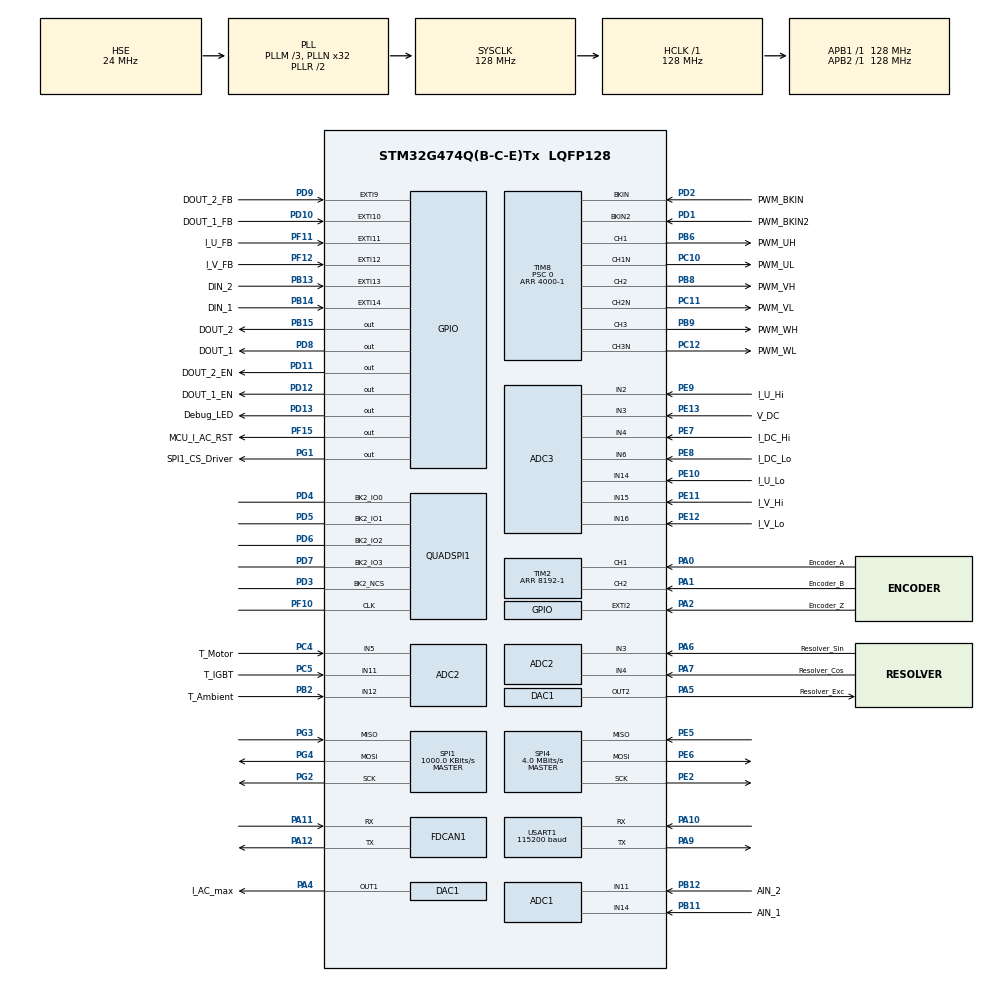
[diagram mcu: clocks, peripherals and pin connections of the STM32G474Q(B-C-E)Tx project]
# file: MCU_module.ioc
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ADC1.Channel-1\#ChannelRegularConversion=ADC_CHANNEL_14
ADC1.Channel-2\#ChannelRegularConversion=ADC_CHANNEL_11
ADC1.ContinuousConvMode=DISABLE
ADC1.DMAContinuousRequests=ENABLE
ADC1.EOCSelection=ADC_EOC_SEQ_CONV
ADC1.NbrOfConversion=2
ADC1.NbrOfConversionFlag=1
ADC1.OffsetNumber-1\#ChannelRegularConversion=ADC_OFFSET_NONE
ADC1.OffsetNumber-2\#ChannelRegularConversion=ADC_OFFSET_NONE
ADC1.Rank-1\#ChannelRegularConversion=1
ADC1.Rank-2\#ChannelRegularConversion=2
ADC1.SamplingTime-1\#ChannelRegularConversion=ADC_SAMPLETIME_47CYCLES_5
ADC1.SamplingTime-2\#ChannelRegularConversion=ADC_SAMPLETIME_47CYCLES_5
ADC1.master=1
ADC2.Channel-1\#ChannelRegularConversion=ADC_CHANNEL_3
ADC2.Channel-2\#ChannelRegularConversion=ADC_CHANNEL_4
ADC2.Channel-3\#ChannelRegularConversion=ADC_CHANNEL_5
ADC2.Channel-4\#ChannelRegularConversion=ADC_CHANNEL_11
ADC2.Channel-5\#ChannelRegularConversion=ADC_CHANNEL_12
ADC2.DMAContinuousRequests=ENABLE
ADC2.EOCSelection=ADC_EOC_SEQ_CONV
ADC2.ExternalTrigConv=ADC_EXTERNALTRIG_T8_TRGO
ADC2.NbrOfConversion=5
ADC2.NbrOfConversionFlag=1
ADC2.OffsetNumber-1\#ChannelRegularConversion=ADC_OFFSET_NONE
ADC2.OffsetNumber-2\#ChannelRegularConversion=ADC_OFFSET_NONE
ADC2.OffsetNumber-3\#ChannelRegularConversion=ADC_OFFSET_NONE
ADC2.OffsetNumber-4\#ChannelRegularConversion=ADC_OFFSET_NONE
ADC2.OffsetNumber-5\#ChannelRegularConversion=ADC_OFFSET_NONE
ADC2.Rank-1\#ChannelRegularConversion=1
ADC2.Rank-2\#ChannelRegularConversion=2
ADC2.Rank-3\#ChannelRegularConversion=3
ADC2.Rank-4\#ChannelRegularConversion=4
ADC2.Rank-5\#ChannelRegularConversion=5
ADC2.SamplingTime-1\#ChannelRegularConversion=ADC_SAMPLETIME_47CYCLES_5
ADC2.SamplingTime-2\#ChannelRegularConversion=ADC_SAMPLETIME_47CYCLES_5
ADC2.SamplingTime-3\#ChannelRegularConversion=ADC_SAMPLETIME_47CYCLES_5
ADC2.SamplingTime-4\#ChannelRegularConversion=ADC_SAMPLETIME_47CYCLES_5
ADC2.SamplingTime-5\#ChannelRegularConversion=ADC_SAMPLETIME_47CYCLES_5
ADC3.Channel-0\#ChannelRegularConversion=ADC_CHANNEL_2
ADC3.Channel-1\#ChannelRegularConversion=ADC_CHANNEL_15
ADC3.Channel-2\#ChannelRegularConversion=ADC_CHANNEL_14
ADC3.Channel-3\#ChannelRegularConversion=ADC_CHANNEL_16
ADC3.Channel-4\#ChannelRegularConversion=ADC_CHANNEL_4
ADC3.Channel-5\#ChannelRegularConversion=ADC_CHANNEL_6
ADC3.Channel-6\#ChannelRegularConversion=ADC_CHANNEL_3
ADC3.DMAContinuousRequests=ENABLE
ADC3.EOCSelection=ADC_EOC_SEQ_CONV
ADC3.ExternalTrigConv=ADC_EXTERNALTRIG_T8_TRGO
ADC3.NbrOfConversion=7
ADC3.NbrOfConversionFlag=1
ADC3.OffsetNumber-0\#ChannelRegularConversion=ADC_OFFSET_NONE
ADC3.OffsetNumber-1\#ChannelRegularConversion=ADC_OFFSET_NONE
ADC3.OffsetNumber-2\#ChannelRegularConversion=ADC_OFFSET_NONE
ADC3.OffsetNumber-3\#ChannelRegularConversion=ADC_OFFSET_NONE
ADC3.OffsetNumber-4\#ChannelRegularConversion=ADC_OFFSET_NONE
ADC3.OffsetNumber-5\#ChannelRegularConversion=ADC_OFFSET_NONE
ADC3.OffsetNumber-6\#ChannelRegularConversion=ADC_OFFSET_NONE
ADC3.Rank-0\#ChannelRegularConversion=1
ADC3.Rank-1\#ChannelRegularConversion=2
ADC3.Rank-2\#ChannelRegularConversion=3
ADC3.Rank-3\#ChannelRegularConversion=4
ADC3.Rank-4\#ChannelRegularConversion=5
ADC3.Rank-5\#ChannelRegularConversion=6
ADC3.Rank-6\#ChannelRegularConversion=7
ADC3.SamplingTime-0\#ChannelRegularConversion=ADC_SAMPLETIME_47CYCLES_5
ADC3.SamplingTime-1\#ChannelRegularConversion=ADC_SAMPLETIME_47CYCLES_5
ADC3.SamplingTime-2\#ChannelRegularConversion=ADC_SAMPLETIME_47CYCLES_5
ADC3.SamplingTime-3\#ChannelRegularConversion=ADC_SAMPLETIME_47CYCLES_5
ADC3.SamplingTime-4\#ChannelRegularConversion=ADC_SAMPLETIME_47CYCLES_5
ADC3.SamplingTime-5\#ChannelRegularConversion=ADC_SAMPLETIME_47CYCLES_5
ADC3.SamplingTime-6\#ChannelRegularConversion=ADC_SAMPLETIME_47CYCLES_5
ADC3.master=1
DAC1.DAC_Channel-DAC_OUT2=DAC_CHANNEL_2
Dma.ADC1.2.Direction=DMA_PERIPH_TO_MEMORY
Dma.ADC1.2.EventEnable=DISABLE
Dma.ADC1.2.Instance=DMA1_Channel1
Dma.ADC1.2.MemDataAlignment=DMA_MDATAALIGN_WORD
Dma.ADC1.2.MemInc=DMA_MINC_ENABLE
Dma.ADC1.2.Mode=DMA_NORMAL
Dma.ADC1.2.PeriphDataAlignment=DMA_PDATAALIGN_WORD
Dma.ADC1.2.PeriphInc=DMA_PINC_DISABLE
Dma.ADC1.2.Polarity=HAL_DMAMUX_REQ_GEN_RISING
Dma.ADC1.2.Priority=DMA_PRIORITY_LOW
Dma.ADC1.2.RequestNumber=1
Dma.ADC1.2.SignalID=NONE
Dma.ADC1.2.SyncEnable=DISABLE
Dma.ADC1.2.SyncPolarity=HAL_DMAMUX_SYNC_NO_EVENT
Dma.ADC1.2.SyncRequestNumber=1
Dma.ADC1.2.SyncSignalID=NONE
Dma.ADC2.3.Direction=DMA_PERIPH_TO_MEMORY
Dma.ADC2.3.EventEnable=DISABLE
Dma.ADC2.3.Instance=DMA1_Channel3
Dma.ADC2.3.MemDataAlignment=DMA_MDATAALIGN_HALFWORD
Dma.ADC2.3.MemInc=DMA_MINC_ENABLE
Dma.ADC2.3.Mode=DMA_CIRCULAR
Dma.ADC2.3.PeriphDataAlignment=DMA_PDATAALIGN_HALFWORD
Dma.ADC2.3.PeriphInc=DMA_PINC_DISABLE
Dma.ADC2.3.Polarity=HAL_DMAMUX_REQ_GEN_RISING
Dma.ADC2.3.Priority=DMA_PRIORITY_VERY_HIGH
Dma.ADC2.3.RequestNumber=1
Dma.ADC2.3.SignalID=NONE
Dma.ADC2.3.SyncEnable=DISABLE
Dma.ADC2.3.SyncPolarity=HAL_DMAMUX_SYNC_NO_EVENT
Dma.ADC2.3.SyncRequestNumber=1
Dma.ADC2.3.SyncSignalID=NONE
Dma.ADC3.4.Direction=DMA_PERIPH_TO_MEMORY
Dma.ADC3.4.EventEnable=DISABLE
Dma.ADC3.4.Instance=DMA1_Channel5
Dma.ADC3.4.MemDataAlignment=DMA_MDATAALIGN_HALFWORD
Dma.ADC3.4.MemInc=DMA_MINC_ENABLE
Dma.ADC3.4.Mode=DMA_CIRCULAR
Dma.ADC3.4.PeriphDataAlignment=DMA_PDATAALIGN_HALFWORD
Dma.ADC3.4.PeriphInc=DMA_PINC_DISABLE
Dma.ADC3.4.Polarity=HAL_DMAMUX_REQ_GEN_RISING
Dma.ADC3.4.Priority=DMA_PRIORITY_VERY_HIGH
Dma.ADC3.4.RequestNumber=1
Dma.ADC3.4.SignalID=NONE
Dma.ADC3.4.SyncEnable=DISABLE
Dma.ADC3.4.SyncPolarity=HAL_DMAMUX_SYNC_NO_EVENT
Dma.ADC3.4.SyncRequestNumber=1
Dma.ADC3.4.SyncSignalID=NONE
Dma.Request0=TIM8_UP
Dma.Request1=USART1_TX
Dma.Request2=ADC1
Dma.Request3=ADC2
Dma.Request4=ADC3
Dma.Request5=SPI4_RX
Dma.Request6=SPI4_TX
Dma.SPI4_RX.5.Direction=DMA_PERIPH_TO_MEMORY
Dma.SPI4_RX.5.EventEnable=DISABLE
Dma.SPI4_RX.5.Instance=DMA1_Channel6
Dma.SPI4_RX.5.MemDataAlignment=DMA_MDATAALIGN_HALFWORD
Dma.SPI4_RX.5.MemInc=DMA_MINC_DISABLE
Dma.SPI4_RX.5.Mode=DMA_NORMAL
Dma.SPI4_RX.5.PeriphDataAlignment=DMA_PDATAALIGN_HALFWORD
Dma.SPI4_RX.5.PeriphInc=DMA_PINC_DISABLE
Dma.SPI4_RX.5.Polarity=HAL_DMAMUX_REQ_GEN_RISING
Dma.SPI4_RX.5.Priority=DMA_PRIORITY_VERY_HIGH
Dma.SPI4_RX.5.RequestNumber=1
Dma.SPI4_RX.5.SignalID=NONE
Dma.SPI4_RX.5.SyncEnable=DISABLE
Dma.SPI4_RX.5.SyncPolarity=HAL_DMAMUX_SYNC_NO_EVENT
Dma.SPI4_RX.5.SyncRequestNumber=1
Dma.SPI4_RX.5.SyncSignalID=NONE
Dma.SPI4_TX.6.Direction=DMA_MEMORY_TO_PERIPH
Dma.SPI4_TX.6.EventEnable=DISABLE
Dma.SPI4_TX.6.Instance=DMA1_Channel7
Dma.SPI4_TX.6.MemDataAlignment=DMA_MDATAALIGN_HALFWORD
Dma.SPI4_TX.6.MemInc=DMA_MINC_DISABLE
Dma.SPI4_TX.6.Mode=DMA_NORMAL
Dma.SPI4_TX.6.PeriphDataAlignment=DMA_PDATAALIGN_HALFWORD
Dma.SPI4_TX.6.PeriphInc=DMA_PINC_DISABLE
Dma.SPI4_TX.6.Polarity=HAL_DMAMUX_REQ_GEN_RISING
Dma.SPI4_TX.6.Priority=DMA_PRIORITY_VERY_HIGH
Dma.SPI4_TX.6.RequestNumber=1
Dma.SPI4_TX.6.SignalID=NONE
Dma.SPI4_TX.6.SyncEnable=DISABLE
Dma.SPI4_TX.6.SyncPolarity=HAL_DMAMUX_SYNC_NO_EVENT
Dma.SPI4_TX.6.SyncRequestNumber=1
Dma.SPI4_TX.6.SyncSignalID=NONE
Dma.TIM8_UP.0.Direction=DMA_MEMORY_TO_PERIPH
Dma.TIM8_UP.0.EventEnable=DISABLE
Dma.TIM8_UP.0.Instance=DMA1_Channel2
Dma.TIM8_UP.0.MemDataAlignment=DMA_MDATAALIGN_HALFWORD
Dma.TIM8_UP.0.MemInc=DMA_MINC_ENABLE
Dma.TIM8_UP.0.Mode=DMA_CIRCULAR
Dma.TIM8_UP.0.PeriphDataAlignment=DMA_PDATAALIGN_HALFWORD
Dma.TIM8_UP.0.PeriphInc=DMA_PINC_DISABLE
Dma.TIM8_UP.0.Polarity=HAL_DMAMUX_REQ_GEN_RISING
Dma.TIM8_UP.0.Priority=DMA_PRIORITY_VERY_HIGH
Dma.TIM8_UP.0.RequestNumber=1
Dma.TIM8_UP.0.SignalID=NONE
Dma.TIM8_UP.0.SyncEnable=DISABLE
Dma.TIM8_UP.0.SyncPolarity=HAL_DMAMUX_SYNC_NO_EVENT
Dma.TIM8_UP.0.SyncRequestNumber=1
Dma.TIM8_UP.0.SyncSignalID=NONE
Dma.USART1_TX.1.Direction=DMA_MEMORY_TO_PERIPH
Dma.USART1_TX.1.EventEnable=DISABLE
Dma.USART1_TX.1.Instance=DMA1_Channel4
Dma.USART1_TX.1.MemDataAlignment=DMA_MDATAALIGN_BYTE
Dma.USART1_TX.1.MemInc=DMA_MINC_ENABLE
Dma.USART1_TX.1.Mode=DMA_NORMAL
Dma.USART1_TX.1.PeriphDataAlignment=DMA_PDATAALIGN_BYTE
Dma.USART1_TX.1.PeriphInc=DMA_PINC_DISABLE
Dma.USART1_TX.1.Polarity=HAL_DMAMUX_REQ_GEN_RISING
Dma.USART1_TX.1.Priority=DMA_PRIORITY_LOW
Dma.USART1_TX.1.RequestNumber=1
Dma.USART1_TX.1.SignalID=NONE
Dma.USART1_TX.1.SyncEnable=DISABLE
Dma.USART1_TX.1.SyncPolarity=HAL_DMAMUX_SYNC_NO_EVENT
Dma.USART1_TX.1.SyncRequestNumber=1
Dma.USART1_TX.1.SyncSignalID=NONE
FDCAN1.CalculateBaudRateNominal=500000
FDCAN1.CalculateTimeBitNominal=2000
FDCAN1.CalculateTimeQuantumNominal=125.0
FDCAN1.ClockDivider=FDCAN_CLOCK_DIV1
FDCAN1.NominalTimeSeg1=13
FDCAN1.NominalTimeSeg2=2
FREERTOS.BinarySemaphores01=faultSem,Dynamic,NULL,Depleted
FREERTOS.Tasks01=defaultTask,24,128,StartDefaultTask,Default,NULL,Dynamic,NULL,NULL;FaultHandlerTas,24,128,FaultHandlerTask,Default,NULL,Dynamic,NULL,NULL;AnalogRead,24,128,AnalogReadTask,Default,NULL,Dynamic,NULL,NULL
FREERTOS.configUSE_NEWLIB_REENTRANT=1
Mcu.Family=STM32G4
Mcu.Name=STM32G474Q(B-C-E)Tx
Mcu.Package=LQFP128
NVIC.DMA1_Channel1_IRQn=true\:5\:0\:false\:false\:true\:true\:false\:true\:true
NVIC.DMA1_Channel2_IRQn=true\:5\:0\:false\:false\:true\:true\:false\:true\:true
NVIC.DMA1_Channel3_IRQn=true\:5\:0\:false\:false\:true\:true\:false\:true\:true
NVIC.DMA1_Channel4_IRQn=true\:5\:0\:true\:false\:true\:false\:false\:true\:true
NVIC.DMA1_Channel5_IRQn=true\:5\:0\:false\:false\:true\:true\:false\:true\:true
NVIC.DMA1_Channel6_IRQn=true\:5\:0\:false\:false\:true\:true\:false\:true\:true
NVIC.DMA1_Channel7_IRQn=true\:5\:0\:false\:false\:true\:true\:false\:true\:true
NVIC.EXTI2_IRQn=true\:5\:0\:false\:false\:true\:true\:true\:true\:true
NVIC.PriorityGroup=NVIC_PRIORITYGROUP_4
NVIC.SPI1_IRQn=true\:5\:0\:false\:false\:true\:true\:true\:true\:true
NVIC.TIM2_IRQn=true\:5\:0\:false\:false\:true\:true\:true\:true\:true
NVIC.TIM6_DAC_IRQn=true\:15\:0\:false\:false\:true\:false\:false\:true\:true
NVIC.TIM8_BRK_IRQn=true\:5\:0\:false\:false\:true\:true\:true\:true\:true
NVIC.TIM8_UP_IRQn=true\:5\:0\:false\:false\:true\:true\:true\:true\:true
NVIC.TimeBase=TIM6_DAC_IRQn
NVIC.TimeBaseIP=TIM6
NVIC.USART1_IRQn=true\:5\:0\:true\:false\:true\:true\:true\:true\:true
PA0.GPIO_Label=Encoder_A
PA0.Signal=S_TIM2_CH1
PA1.GPIO_Label=Encoder_B
PA1.Signal=S_TIM2_CH2
PA10.Mode=Asynchronous
PA10.Signal=USART1_RX
PA11.Mode=FDCAN_Activate
PA11.Signal=FDCAN1_RX
PA12.Mode=FDCAN_Activate
PA12.Signal=FDCAN1_TX
PA13.Mode=Serial_Wire
PA13.Signal=SYS_JTMS-SWDIO
PA14.Mode=Serial_Wire
PA14.Signal=SYS_JTCK-SWCLK
PA15.Signal=SYS_JTDI
PA2.GPIO_Label=Encoder_Z
PA2.Signal=GPXTI2
PA4.GPIO_Label=I_AC_max
PA4.Signal=COMP_DAC11_group
PA5.GPIO_Label=Resolver_Exc
PA5.Signal=COMP_DAC12_group
PA6.GPIO_Label=Resolver_Sin
PA6.Mode=IN3-Single-Ended
PA6.Signal=ADC2_IN3
PA7.GPIO_Label=Resolver_Cos
PA7.Mode=IN4-Single-Ended
PA7.Signal=ADC2_IN4
PA9.Mode=Asynchronous
PA9.Signal=USART1_TX
PB11.GPIO_Label=AIN_1
PB11.Mode=IN14-Single-Ended
PB11.Signal=ADC1_IN14
PB12.GPIO_Label=AIN_2
PB12.Mode=IN11-Single-Ended
PB12.Signal=ADC1_IN11
PB13.GPIO_Label=DIN_2
PB13.Signal=GPXTI13
PB14.GPIO_Label=DIN_1
PB14.Signal=GPXTI14
PB15.GPIO_Label=DOUT_2
PB15.Signal=GPIO_Output
PB2.GPIO_Label=T_Ambient
PB2.Mode=IN12-Single-Ended
PB2.Signal=ADC2_IN12
PB3.Signal=SYS_JTDO-SWO
PB4.Signal=SYS_JTRST
PB6.GPIO_Label=PWM_UH
PB6.Signal=S_TIM8_CH1
PB8-BOOT0.GPIO_Label=PWM_VH
PB8-BOOT0.Signal=S_TIM8_CH2
PB9.GPIO_Label=PWM_WH
PB9.Signal=S_TIM8_CH3
PC10.GPIO_Label=PWM_UL
PC10.Mode=PWM Generation1 CH1 CH1N
PC10.Signal=TIM8_CH1N
PC11.GPIO_Label=PWM_VL
PC11.Mode=PWM Generation2 CH2 CH2N
PC11.Signal=TIM8_CH2N
PC12.GPIO_Label=PWM_WL
PC12.Mode=PWM Generation3 CH3 CH3N
PC12.Signal=TIM8_CH3N
PC4.GPIO_Label=T_Motor
PC4.Mode=IN5-Single-Ended
PC4.Signal=ADC2_IN5
PC5.GPIO_Label=T_IGBT
PC5.Mode=IN11-Single-Ended
PC5.Signal=ADC2_IN11
PD1.GPIO_Label=PWM_BKIN2
PD1.Mode=Activate-Break-Input-2
PD1.Signal=TIM8_BKIN2
PD10.GPIO_Label=DOUT_1_FB
PD10.Signal=GPXTI10
PD11.GPIO_Label=DOUT_2_EN
PD11.Signal=GPIO_Output
PD12.GPIO_Label=DOUT_1_EN
PD12.Signal=GPIO_Output
PD13.GPIO_Label=Debug_LED
PD13.Signal=GPIO_Output
PD2.GPIO_Label=PWM_BKIN
PD2.Mode=Activate-Break-Input
PD2.Signal=TIM8_BKIN
PD3.Mode=Single Bank 2
PD3.Signal=QUADSPI1_BK2_NCS
PD4.Mode=Single Bank 2
PD4.Signal=QUADSPI1_BK2_IO0
PD5.Mode=Single Bank 2
PD5.Signal=QUADSPI1_BK2_IO1
PD6.Mode=Single Bank 2
PD6.Signal=QUADSPI1_BK2_IO2
PD7.Mode=Single Bank 2
PD7.Signal=QUADSPI1_BK2_IO3
PD8.GPIO_Label=DOUT_1
PD8.Signal=GPIO_Output
PD9.GPIO_Label=DOUT_2_FB
PD9.Signal=GPXTI9
PE10.GPIO_Label=I_U_Lo
PE10.Mode=IN14-Single-Ended
PE10.Signal=ADC3_IN14
PE11.GPIO_Label=I_V_Hi
PE11.Mode=IN15-Single-Ended
PE11.Signal=ADC3_IN15
PE12.GPIO_Label=I_V_Lo
PE12.Mode=IN16-Single-Ended
PE12.Signal=ADC3_IN16
PE13.GPIO_Label=V_DC
PE13.Mode=IN3-Single-Ended
PE13.Signal=ADC3_IN3
PE2.Mode=Full_Duplex_Master
PE2.Signal=SPI4_SCK
PE5.Mode=Full_Duplex_Master
PE5.Signal=SPI4_MISO
PE6.Mode=Full_Duplex_Master
PE6.Signal=SPI4_MOSI
PE7.GPIO_Label=I_DC_Hi
PE7.Mode=IN4-Single-Ended
PE7.Signal=ADC3_IN4
PE8.GPIO_Label=I_DC_Lo
PE8.Mode=IN6-Single-Ended
PE8.Signal=ADC3_IN6
PE9.GPIO_Label=I_U_Hi
PE9.Mode=IN2-Single-Ended
PE9.Signal=ADC3_IN2
PF0-OSC_IN.Mode=HSE-External-Oscillator
PF0-OSC_IN.Signal=RCC_OSC_IN
PF1-OSC_OUT.Mode=HSE-External-Oscillator
PF1-OSC_OUT.Signal=RCC_OSC_OUT
PF10.Mode=Single Bank 2
PF10.Signal=QUADSPI1_CLK
PF11.GPIO_Label=I_U_FB
PF11.Signal=GPXTI11
PF12.GPIO_Label=I_V_FB
PF12.Signal=GPXTI12
PF15.GPIO_Label=MCU_I_AC_RST
PF15.Signal=GPIO_Output
PG1.GPIO_Label=SPI1_CS_Driver
PG1.PinState=GPIO_PIN_SET
PG1.Signal=GPIO_Output
PG2.Mode=Full_Duplex_Master
PG2.Signal=SPI1_SCK
PG3.Mode=Full_Duplex_Master
PG3.Signal=SPI1_MISO
PG4.Mode=Full_Duplex_Master
PG4.Signal=SPI1_MOSI
ProjectManager.HeapSize=0x200
ProjectManager.StackSize=0x400
ProjectManager.TargetToolchain=STM32CubeIDE
QUADSPI1.ClockPrescaler=128
RCC.ADC12Freq_Value=128000000
RCC.ADC345Freq_Value=128000000
RCC.AHBFreq_Value=128000000
RCC.APB1Freq_Value=128000000
RCC.APB1TimFreq_Value=128000000
RCC.APB2Freq_Value=128000000
RCC.APB2TimFreq_Value=128000000
RCC.CortexFreq_Value=128000000
RCC.EXTERNAL_CLOCK_VALUE=12288000
RCC.HCLKFreq_Value=128000000
RCC.HSE_VALUE=24000000
RCC.HSI48_VALUE=48000000
RCC.HSI_VALUE=16000000
RCC.LSE_VALUE=32768
RCC.PLLM=RCC_PLLM_DIV3
RCC.PLLN=32
RCC.PLLSourceVirtual=RCC_PLLSOURCE_HSE
RCC.SYSCLKFreq_VALUE=128000000
RCC.SYSCLKSource=RCC_SYSCLKSOURCE_PLLCLK
RCC.USBFreq_Value=128000000
RCC.VCOOutputFreq_Value=256000000
SH.COMP_DAC11_group.0=DAC1_OUT1,DAC_OUT1
SH.COMP_DAC12_group.0=DAC1_OUT2,DAC_OUT2
SH.S_TIM2_CH1.0=TIM2_CH1,Encoder_Interface
SH.S_TIM2_CH2.0=TIM2_CH2,Encoder_Interface
SH.S_TIM8_CH1.0=TIM8_CH1,PWM Generation1 CH1 CH1N
SH.S_TIM8_CH2.0=TIM8_CH2,PWM Generation2 CH2 CH2N
SH.S_TIM8_CH3.0=TIM8_CH3,PWM Generation3 CH3 CH3N
SPI1.BaudRatePrescaler=SPI_BAUDRATEPRESCALER_128
SPI1.CLKPhase=SPI_PHASE_2EDGE
SPI1.CalculateBaudRate=1000.0 KBits/s
SPI1.DataSize=SPI_DATASIZE_16BIT
SPI1.Direction=SPI_DIRECTION_2LINES
SPI1.Mode=SPI_MODE_MASTER
SPI1.VirtualType=VM_MASTER
SPI4.BaudRatePrescaler=SPI_BAUDRATEPRESCALER_32
SPI4.CLKPhase=SPI_PHASE_2EDGE
SPI4.CLKPolarity=SPI_POLARITY_HIGH
SPI4.CalculateBaudRate=4.0 MBits/s
SPI4.DataSize=SPI_DATASIZE_14BIT
SPI4.Direction=SPI_DIRECTION_2LINES
SPI4.Mode=SPI_MODE_MASTER
SPI4.VirtualType=VM_MASTER
TIM2.Dithering=Disable
TIM2.EncoderMode=TIM_ENCODERMODE_TI12
TIM2.IC1Filter=8
TIM2.IC2Filter=8
TIM2.PeriodNoDither=8192-1
TIM8.AutoReloadPreload=TIM_AUTORELOAD_PRELOAD_ENABLE
TIM8.Break2Polarity=TIM_BREAK2POLARITY_LOW
TIM8.BreakPolarity=TIM_BREAKPOLARITY_LOW
TIM8.Channel-PWM\ Generation1\ CH1\ CH1N=TIM_CHANNEL_1
TIM8.Channel-PWM\ Generation2\ CH2\ CH2N=TIM_CHANNEL_2
TIM8.Channel-PWM\ Generation3\ CH3\ CH3N=TIM_CHANNEL_3
TIM8.CounterMode=TIM_COUNTERMODE_CENTERALIGNED3
TIM8.DeadTime=64
TIM8.DeadTimePreload=ENABLE
TIM8.PeriodNoDither=4000-1
TIM8.Prescaler=0
TIM8.PulseNoDither_1=2000-1
TIM8.PulseNoDither_2=2000-1
TIM8.PulseNoDither_3=2000-1
TIM8.TIM_MasterOutputTrigger=TIM_TRGO_UPDATE
TIM8.TIM_MasterSlaveMode=TIM_MASTERSLAVEMODE_ENABLE
USART1.BaudRate=115200
USART1.VirtualMode-Asynchronous=VM_ASYNC
VP_CORDIC_VS_CORDIC.Mode=CORDIC_Activate
VP_FREERTOS_VS_CMSIS_V2.Mode=CMSIS_V2
VP_SYS_VS_DBSignals.Mode=DisableDeadBatterySignals
VP_SYS_VS_tim6.Mode=TIM6
VP_TIM8_VS_ClockSourceINT.Mode=Internal
board=custom

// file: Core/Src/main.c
/* USER CODE BEGIN Header */
/**
  ******************************************************************************
  * @file           : main.c
  * @brief          : Main program body
  ******************************************************************************
  * @attention
  *
  * Copyright (c) 2025 STMicroelectronics.
  * All rights reserved.
  *
  * This software is licensed under terms that can be found in the LICENSE file
  * in the root directory of this software component.
  * If no LICENSE file comes with this software, it is provided AS-IS.
  *
  ******************************************************************************
  */
/* USER CODE END Header */
#include "main.h"
#include "cmsis_os.h"

/* USER CODE BEGIN Includes */
#include <string.h>
#include <stdio.h>
#include <stdbool.h>

#include "ucc5870.h"
#include "ucc5870_regs.h"

#include "GPIO_status.h"
#include "UART.h"
#include "PWM_timer.h"
#include "rampgen.h"
#include "foc.h"
#include "CORDIC.h"
/* USER CODE END Includes */

ADC_HandleTypeDef hadc1;
ADC_HandleTypeDef hadc2;
ADC_HandleTypeDef hadc3;
DMA_HandleTypeDef hdma_adc1;
DMA_HandleTypeDef hdma_adc2;
DMA_HandleTypeDef hdma_adc3;

CORDIC_HandleTypeDef hcordic;

DAC_HandleTypeDef hdac1;

FDCAN_HandleTypeDef hfdcan1;

QSPI_HandleTypeDef hqspi1;

SPI_HandleTypeDef hspi1;
SPI_HandleTypeDef hspi4;
DMA_HandleTypeDef hdma_spi4_rx;
DMA_HandleTypeDef hdma_spi4_tx;

TIM_HandleTypeDef htim2;
TIM_HandleTypeDef htim8;
DMA_HandleTypeDef hdma_tim8_up;

UART_HandleTypeDef huart1;
DMA_HandleTypeDef hdma_usart1_tx;

/* Definitions for defaultTask */
osThreadId_t defaultTaskHandle;
const osThreadAttr_t defaultTask_attributes = {
  .name = "defaultTask",
  .priority = (osPriority_t) osPriorityNormal,
  .stack_size = 128 * 4
};
/* Definitions for FaultHandlerTas */
osThreadId_t FaultHandlerTasHandle;
const osThreadAttr_t FaultHandlerTas_attributes = {
  .name = "FaultHandlerTas",
  .priority = (osPriority_t) osPriorityNormal,
  .stack_size = 128 * 4
};
/* Definitions for AnalogRead */
osThreadId_t AnalogReadHandle;
const osThreadAttr_t AnalogRead_attributes = {
  .name = "AnalogRead",
  .priority = (osPriority_t) osPriorityNormal,
  .stack_size = 128 * 4
};
/* Definitions for faultSem */
osSemaphoreId_t faultSemHandle;
const osSemaphoreAttr_t faultSem_attributes = {
  .name = "faultSem"
};
/* USER CODE BEGIN PV */

Analog_IN AIN[AIN_NUM] =
{
	[0] = { AIN_1_GPIO_Port, /* port */
			AIN_1_Pin,       /* pin */
			0,               /* raw */
			ADC_MAX_VAL_12B, /* max */
			0,               /* min */
			0                /* percentage */
		},

	[1] = { AIN_2_GPIO_Port, /* port */
			AIN_2_Pin,       /* pin */
			0,               /* raw */
			ADC_MAX_VAL_12B, /* max */
			0,               /* min */
			0                /* percentage */
		}
};

Digital_IN DIN[DIN_NUM] =
{
	[0] = { DIN_1_GPIO_Port, DIN_1_Pin },
	[1] = { DIN_2_GPIO_Port, DIN_2_Pin }
};

Digital_OUT DOUT[DOUT_NUM] =
{
	[0] = { DOUT_1_GPIO_Port,    /* port */
			DOUT_1_Pin,          /* pin */
			DOUT_1_EN_GPIO_Port, /* en_port */
			DOUT_1_EN_Pin,       /* en_pin */
			DOUT_1_FB_GPIO_Port, /* fb_port */
			DOUT_1_FB_Pin        /* fb_pin */
		},

	[1] = { DOUT_2_GPIO_Port,    /* port */
			DOUT_2_Pin,          /* pin */
			DOUT_2_EN_GPIO_Port, /* en_port */
			DOUT_2_EN_Pin,       /* en_pin */
			DOUT_2_FB_GPIO_Port, /* fb_port */
			DOUT_2_FB_Pin        /* fb_pin */
		}
};

volatile bool nFLT1_active = false;
volatile bool nFLT2_active = false;

RampGen rg;
Motor_t motor;

/* USER CODE END PV */

void SystemClock_Config(void);
static void MX_GPIO_Init(void);
static void MX_DMA_Init(void);
static void MX_FDCAN1_Init(void);
static void MX_TIM2_Init(void);
static void MX_TIM8_Init(void);
static void MX_ADC1_Init(void);
static void MX_ADC2_Init(void);
static void MX_DAC1_Init(void);
static void MX_SPI1_Init(void);
static void MX_ADC3_Init(void);
static void MX_QUADSPI1_Init(void);
static void MX_SPI4_Init(void);
static void MX_USART1_UART_Init(void);
static void MX_CORDIC_Init(void);
void StartDefaultTask(void *argument);
void FaultHandlerTask(void *argument);
void AnalogReadTask(void *argument);

int main(void)
{

  /* MCU Configuration--------------------------------------------------------*/

  /* Reset of all peripherals, Initializes the Flash interface and the Systick. */
  HAL_Init();

  /* Configure the system clock */
  SystemClock_Config();

  /* Initialize all configured peripherals */
  MX_GPIO_Init();
  MX_DMA_Init();
  MX_FDCAN1_Init();
  MX_TIM2_Init();
  MX_TIM8_Init();
  MX_ADC1_Init();
  MX_ADC2_Init();
  MX_DAC1_Init();
  MX_SPI1_Init();
  MX_ADC3_Init();
  MX_QUADSPI1_Init();
  MX_SPI4_Init();
  MX_USART1_UART_Init();
  MX_CORDIC_Init();
  /* USER CODE BEGIN 2 */

  UART_Transmit((uint8_t *)"Setup start\r\n", strlen("Setup start\r\n"));

  /* --- Start FDCAN module ----------------------------------------------------*/
  if (HAL_FDCAN_Start(&hfdcan1) != HAL_OK)
  {
      Error_Handler();
  }

  /* --- Activate notification for received message ----------------------------*/
  if (HAL_FDCAN_ActivateNotification(&hfdcan1, FDCAN_IT_RX_FIFO0_NEW_MESSAGE, 0) != HAL_OK)
  {
      Error_Handler();
  }

  /* --- Initialize local UCC5870 registers ------------------------------------*/
  Init_UCC5870_Regs();

  /* --- Initialize UCC5870 registers via SPI ----------------------------------*/
//  if(Init_UCC5870() != ALL_GOOD)
//  {
//	  Error_Handler();
//  }

  /* --- Initialize motor parameters -------------------------------------------*/
  FOC_motor_init(&motor);

  /* --- Initialize encoder angle ----------------------------------------------*/
  if(FOC_encoder_init(&motor) != FOC_ALL_GOOD)
  {
	  Error_Handler();
  }

  // TODO: remove
  rg.StepAngleMax = 0.0001;
  rg.Freq = 0.05;
  rg.Angle = 0;
  rg.Out = 0;

  /* --- Start FOC analog value sampling ---------------------------------------*/
  if (FOC_start_ADC_DMA() != HAL_OK)
  {
	  Error_Handler();
  }

  /* --- Set initial duty cycle and modulation limit ---------------------------*/
  PWM_data_init(-1.0, 1.0);

  /* --- Set up PWM_timer DMA channels -----------------------------------------*/
  if(PWM_timer_DMA_start() != HAL_OK)
  {
	  Error_Handler();
  }

  /* --- Start PWM_timer and PWM generation on MCU pins ------------------------*/
  if(PWM_timer_start() != HAL_OK)
  {
	  Error_Handler();
  }

  /* --- Print values of STATUS registers of all gate drivers ------------------*/
  printInverterStatus();

  UART_Transmit((uint8_t *)"\n\nSetup end\r\n", strlen("\n\nSetup end\r\n"));

  /* USER CODE END 2 */

  /* Init scheduler */
  osKernelInitialize();

  /* Create the semaphores(s) */
  /* creation of faultSem */
  faultSemHandle = osSemaphoreNew(1, 0, &faultSem_attributes);

  /* Create the thread(s) */
  /* creation of defaultTask */
  defaultTaskHandle = osThreadNew(StartDefaultTask, NULL, &defaultTask_attributes);

  /* creation of FaultHandlerTas */
  FaultHandlerTasHandle = osThreadNew(FaultHandlerTask, NULL, &FaultHandlerTas_attributes);

  /* creation of AnalogRead */
  AnalogReadHandle = osThreadNew(AnalogReadTask, NULL, &AnalogRead_attributes);

  /* Start scheduler */
  osKernelStart();

  /* We should never get here as control is now taken by the scheduler */

  /* Infinite loop */
  while (1)
  {

  }
}

void SystemClock_Config(void)
{
  RCC_OscInitTypeDef RCC_OscInitStruct = {0};
  RCC_ClkInitTypeDef RCC_ClkInitStruct = {0};

  /** Configure the main internal regulator output voltage
  */
  HAL_PWREx_ControlVoltageScaling(PWR_REGULATOR_VOLTAGE_SCALE1);

  /** Initializes the RCC Oscillators according to the specified parameters
  * in the RCC_OscInitTypeDef structure.
  */
  RCC_OscInitStruct.OscillatorType = RCC_OSCILLATORTYPE_HSE;
  RCC_OscInitStruct.HSEState = RCC_HSE_ON;
  RCC_OscInitStruct.PLL.PLLState = RCC_PLL_ON;
  RCC_OscInitStruct.PLL.PLLSource = RCC_PLLSOURCE_HSE;
  RCC_OscInitStruct.PLL.PLLM = RCC_PLLM_DIV3;
  RCC_OscInitStruct.PLL.PLLN = 32;
  RCC_OscInitStruct.PLL.PLLP = RCC_PLLP_DIV2;
  RCC_OscInitStruct.PLL.PLLQ = RCC_PLLQ_DIV2;
  RCC_OscInitStruct.PLL.PLLR = RCC_PLLR_DIV2;
  if (HAL_RCC_OscConfig(&RCC_OscInitStruct) != HAL_OK)
  {
    Error_Handler();
  }

  /** Initializes the CPU, AHB and APB buses clocks
  */
  RCC_ClkInitStruct.ClockType = RCC_CLOCKTYPE_HCLK|RCC_CLOCKTYPE_SYSCLK
                              |RCC_CLOCKTYPE_PCLK1|RCC_CLOCKTYPE_PCLK2;
  RCC_ClkInitStruct.SYSCLKSource = RCC_SYSCLKSOURCE_PLLCLK;
  RCC_ClkInitStruct.AHBCLKDivider = RCC_SYSCLK_DIV1;
  RCC_ClkInitStruct.APB1CLKDivider = RCC_HCLK_DIV1;
  RCC_ClkInitStruct.APB2CLKDivider = RCC_HCLK_DIV1;

  if (HAL_RCC_ClockConfig(&RCC_ClkInitStruct, FLASH_LATENCY_4) != HAL_OK)
  {
    Error_Handler();
  }
}

static void MX_ADC1_Init(void)
{

  ADC_MultiModeTypeDef multimode = {0};
  ADC_ChannelConfTypeDef sConfig = {0};

  /** Common config
  */
  hadc1.Instance = ADC1;
  hadc1.Init.ClockPrescaler = ADC_CLOCK_SYNC_PCLK_DIV4;
  hadc1.Init.Resolution = ADC_RESOLUTION_12B;
  hadc1.Init.DataAlign = ADC_DATAALIGN_RIGHT;
  hadc1.Init.GainCompensation = 0;
  hadc1.Init.ScanConvMode = ADC_SCAN_ENABLE;
  hadc1.Init.EOCSelection = ADC_EOC_SEQ_CONV;
  hadc1.Init.LowPowerAutoWait = DISABLE;
  hadc1.Init.ContinuousConvMode = DISABLE;
  hadc1.Init.NbrOfConversion = 2;
  hadc1.Init.DiscontinuousConvMode = DISABLE;
  hadc1.Init.ExternalTrigConv = ADC_SOFTWARE_START;
  hadc1.Init.ExternalTrigConvEdge = ADC_EXTERNALTRIGCONVEDGE_NONE;
  hadc1.Init.DMAContinuousRequests = ENABLE;
  hadc1.Init.Overrun = ADC_OVR_DATA_PRESERVED;
  hadc1.Init.OversamplingMode = DISABLE;
  if (HAL_ADC_Init(&hadc1) != HAL_OK)
  {
    Error_Handler();
  }

  /** Configure the ADC multi-mode
  */
  multimode.Mode = ADC_MODE_INDEPENDENT;
  if (HAL_ADCEx_MultiModeConfigChannel(&hadc1, &multimode) != HAL_OK)
  {
    Error_Handler();
  }

  /** Configure Regular Channel
  */
  sConfig.Channel = ADC_CHANNEL_14;
  sConfig.Rank = ADC_REGULAR_RANK_1;
  sConfig.SamplingTime = ADC_SAMPLETIME_47CYCLES_5;
  sConfig.SingleDiff = ADC_SINGLE_ENDED;
  sConfig.OffsetNumber = ADC_OFFSET_NONE;
  sConfig.Offset = 0;
  if (HAL_ADC_ConfigChannel(&hadc1, &sConfig) != HAL_OK)
  {
    Error_Handler();
  }

  /** Configure Regular Channel
  */
  sConfig.Channel = ADC_CHANNEL_11;
  sConfig.Rank = ADC_REGULAR_RANK_2;
  if (HAL_ADC_ConfigChannel(&hadc1, &sConfig) != HAL_OK)
  {
    Error_Handler();
  }

}

static void MX_ADC2_Init(void)
{

  ADC_ChannelConfTypeDef sConfig = {0};

  /** Common config
  */
  hadc2.Instance = ADC2;
  hadc2.Init.ClockPrescaler = ADC_CLOCK_SYNC_PCLK_DIV4;
  hadc2.Init.Resolution = ADC_RESOLUTION_12B;
  hadc2.Init.DataAlign = ADC_DATAALIGN_RIGHT;
  hadc2.Init.GainCompensation = 0;
  hadc2.Init.ScanConvMode = ADC_SCAN_ENABLE;
  hadc2.Init.EOCSelection = ADC_EOC_SEQ_CONV;
  hadc2.Init.LowPowerAutoWait = DISABLE;
  hadc2.Init.ContinuousConvMode = DISABLE;
  hadc2.Init.NbrOfConversion = 5;
  hadc2.Init.DiscontinuousConvMode = DISABLE;
  hadc2.Init.ExternalTrigConv = ADC_EXTERNALTRIG_T8_TRGO;
  hadc2.Init.ExternalTrigConvEdge = ADC_EXTERNALTRIGCONVEDGE_RISING;
  hadc2.Init.DMAContinuousRequests = ENABLE;
  hadc2.Init.Overrun = ADC_OVR_DATA_PRESERVED;
  hadc2.Init.OversamplingMode = DISABLE;
  if (HAL_ADC_Init(&hadc2) != HAL_OK)
  {
    Error_Handler();
  }

  /** Configure Regular Channel
  */
  sConfig.Channel = ADC_CHANNEL_3;
  sConfig.Rank = ADC_REGULAR_RANK_1;
  sConfig.SamplingTime = ADC_SAMPLETIME_47CYCLES_5;
  sConfig.SingleDiff = ADC_SINGLE_ENDED;
  sConfig.OffsetNumber = ADC_OFFSET_NONE;
  sConfig.Offset = 0;
  if (HAL_ADC_ConfigChannel(&hadc2, &sConfig) != HAL_OK)
  {
    Error_Handler();
  }

  /** Configure Regular Channel
  */
  sConfig.Channel = ADC_CHANNEL_4;
  sConfig.Rank = ADC_REGULAR_RANK_2;
  if (HAL_ADC_ConfigChannel(&hadc2, &sConfig) != HAL_OK)
  {
    Error_Handler();
  }

  /** Configure Regular Channel
  */
  sConfig.Channel = ADC_CHANNEL_5;
  sConfig.Rank = ADC_REGULAR_RANK_3;
  if (HAL_ADC_ConfigChannel(&hadc2, &sConfig) != HAL_OK)
  {
    Error_Handler();
  }

  /** Configure Regular Channel
  */
  sConfig.Channel = ADC_CHANNEL_11;
  sConfig.Rank = ADC_REGULAR_RANK_4;
  if (HAL_ADC_ConfigChannel(&hadc2, &sConfig) != HAL_OK)
  {
    Error_Handler();
  }

  /** Configure Regular Channel
  */
  sConfig.Channel = ADC_CHANNEL_12;
  sConfig.Rank = ADC_REGULAR_RANK_5;
  if (HAL_ADC_ConfigChannel(&hadc2, &sConfig) != HAL_OK)
  {
    Error_Handler();
  }

}

static void MX_ADC3_Init(void)
{

  ADC_MultiModeTypeDef multimode = {0};
  ADC_ChannelConfTypeDef sConfig = {0};

  /** Common config
  */
  hadc3.Instance = ADC3;
  hadc3.Init.ClockPrescaler = ADC_CLOCK_SYNC_PCLK_DIV4;
  hadc3.Init.Resolution = ADC_RESOLUTION_12B;
  hadc3.Init.DataAlign = ADC_DATAALIGN_RIGHT;
  hadc3.Init.GainCompensation = 0;
  hadc3.Init.ScanConvMode = ADC_SCAN_ENABLE;
  hadc3.Init.EOCSelection = ADC_EOC_SEQ_CONV;
  hadc3.Init.LowPowerAutoWait = DISABLE;
  hadc3.Init.ContinuousConvMode = DISABLE;
  hadc3.Init.NbrOfConversion = 7;
  hadc3.Init.DiscontinuousConvMode = DISABLE;
  hadc3.Init.ExternalTrigConv = ADC_EXTERNALTRIG_T8_TRGO;
  hadc3.Init.ExternalTrigConvEdge = ADC_EXTERNALTRIGCONVEDGE_RISING;
  hadc3.Init.DMAContinuousRequests = ENABLE;
  hadc3.Init.Overrun = ADC_OVR_DATA_PRESERVED;
  hadc3.Init.OversamplingMode = DISABLE;
  if (HAL_ADC_Init(&hadc3) != HAL_OK)
  {
    Error_Handler();
  }

  /** Configure the ADC multi-mode
  */
  multimode.Mode = ADC_MODE_INDEPENDENT;
  if (HAL_ADCEx_MultiModeConfigChannel(&hadc3, &multimode) != HAL_OK)
  {
    Error_Handler();
  }

  /** Configure Regular Channel
  */
  sConfig.Channel = ADC_CHANNEL_2;
  sConfig.Rank = ADC_REGULAR_RANK_1;
  sConfig.SamplingTime = ADC_SAMPLETIME_47CYCLES_5;
  sConfig.SingleDiff = ADC_SINGLE_ENDED;
  sConfig.OffsetNumber = ADC_OFFSET_NONE;
  sConfig.Offset = 0;
  if (HAL_ADC_ConfigChannel(&hadc3, &sConfig) != HAL_OK)
  {
    Error_Handler();
  }

  /** Configure Regular Channel
  */
  sConfig.Channel = ADC_CHANNEL_15;
  sConfig.Rank = ADC_REGULAR_RANK_2;
  if (HAL_ADC_ConfigChannel(&hadc3, &sConfig) != HAL_OK)
  {
    Error_Handler();
  }

  /** Configure Regular Channel
  */
  sConfig.Channel = ADC_CHANNEL_14;
  sConfig.Rank = ADC_REGULAR_RANK_3;
  if (HAL_ADC_ConfigChannel(&hadc3, &sConfig) != HAL_OK)
  {
    Error_Handler();
  }

  /** Configure Regular Channel
  */
  sConfig.Channel = ADC_CHANNEL_16;
  sConfig.Rank = ADC_REGULAR_RANK_4;
  if (HAL_ADC_ConfigChannel(&hadc3, &sConfig) != HAL_OK)
  {
    Error_Handler();
  }

  /** Configure Regular Channel
  */
  sConfig.Channel = ADC_CHANNEL_4;
  sConfig.Rank = ADC_REGULAR_RANK_5;
  if (HAL_ADC_ConfigChannel(&hadc3, &sConfig) != HAL_OK)
  {
    Error_Handler();
  }

  /** Configure Regular Channel
  */
  sConfig.Channel = ADC_CHANNEL_6;
  sConfig.Rank = ADC_REGULAR_RANK_6;
  if (HAL_ADC_ConfigChannel(&hadc3, &sConfig) != HAL_OK)
  {
    Error_Handler();
  }

  /** Configure Regular Channel
  */
  sConfig.Channel = ADC_CHANNEL_3;
  sConfig.Rank = ADC_REGULAR_RANK_7;
  if (HAL_ADC_ConfigChannel(&hadc3, &sConfig) != HAL_OK)
  {
    Error_Handler();
  }

}

static void MX_CORDIC_Init(void)
{

  hcordic.Instance = CORDIC;
  if (HAL_CORDIC_Init(&hcordic) != HAL_OK)
  {
    Error_Handler();
  }

}

static void MX_DAC1_Init(void)
{

  DAC_ChannelConfTypeDef sConfig = {0};

  /** DAC Initialization
  */
  hdac1.Instance = DAC1;
  if (HAL_DAC_Init(&hdac1) != HAL_OK)
  {
    Error_Handler();
  }

  /** DAC channel OUT1 config
  */
  sConfig.DAC_HighFrequency = DAC_HIGH_FREQUENCY_INTERFACE_MODE_AUTOMATIC;
  sConfig.DAC_DMADoubleDataMode = DISABLE;
  sConfig.DAC_SignedFormat = DISABLE;
  sConfig.DAC_SampleAndHold = DAC_SAMPLEANDHOLD_DISABLE;
  sConfig.DAC_Trigger = DAC_TRIGGER_NONE;
  sConfig.DAC_Trigger2 = DAC_TRIGGER_NONE;
  sConfig.DAC_OutputBuffer = DAC_OUTPUTBUFFER_ENABLE;
  sConfig.DAC_ConnectOnChipPeripheral = DAC_CHIPCONNECT_EXTERNAL;
  sConfig.DAC_UserTrimming = DAC_TRIMMING_FACTORY;
  if (HAL_DAC_ConfigChannel(&hdac1, &sConfig, DAC_CHANNEL_1) != HAL_OK)
  {
    Error_Handler();
  }

  /** DAC channel OUT2 config
  */
  if (HAL_DAC_ConfigChannel(&hdac1, &sConfig, DAC_CHANNEL_2) != HAL_OK)
  {
    Error_Handler();
  }

}

static void MX_FDCAN1_Init(void)
{

  hfdcan1.Instance = FDCAN1;
  hfdcan1.Init.ClockDivider = FDCAN_CLOCK_DIV1;
  hfdcan1.Init.FrameFormat = FDCAN_FRAME_CLASSIC;
  hfdcan1.Init.Mode = FDCAN_MODE_NORMAL;
  hfdcan1.Init.AutoRetransmission = DISABLE;
  hfdcan1.Init.TransmitPause = DISABLE;
  hfdcan1.Init.ProtocolException = DISABLE;
  hfdcan1.Init.NominalPrescaler = 16;
  hfdcan1.Init.NominalSyncJumpWidth = 1;
  hfdcan1.Init.NominalTimeSeg1 = 13;
  hfdcan1.Init.NominalTimeSeg2 = 2;
  hfdcan1.Init.DataPrescaler = 1;
  hfdcan1.Init.DataSyncJumpWidth = 1;
  hfdcan1.Init.DataTimeSeg1 = 1;
  hfdcan1.Init.DataTimeSeg2 = 1;
  hfdcan1.Init.StdFiltersNbr = 0;
  hfdcan1.Init.ExtFiltersNbr = 0;
  hfdcan1.Init.TxFifoQueueMode = FDCAN_TX_FIFO_OPERATION;
  if (HAL_FDCAN_Init(&hfdcan1) != HAL_OK)
  {
    Error_Handler();
  }

}

static void MX_QUADSPI1_Init(void)
{

  /* QUADSPI1 parameter configuration*/
  hqspi1.Instance = QUADSPI;
  hqspi1.Init.ClockPrescaler = 128;
  hqspi1.Init.FifoThreshold = 1;
  hqspi1.Init.SampleShifting = QSPI_SAMPLE_SHIFTING_NONE;
  hqspi1.Init.FlashSize = 1;
  hqspi1.Init.ChipSelectHighTime = QSPI_CS_HIGH_TIME_1_CYCLE;
  hqspi1.Init.ClockMode = QSPI_CLOCK_MODE_0;
  hqspi1.Init.FlashID = QSPI_FLASH_ID_2;
  hqspi1.Init.DualFlash = QSPI_DUALFLASH_DISABLE;
  if (HAL_QSPI_Init(&hqspi1) != HAL_OK)
  {
    Error_Handler();
  }

}

static void MX_SPI1_Init(void)
{

  /* SPI1 parameter configuration*/
  hspi1.Instance = SPI1;
  hspi1.Init.Mode = SPI_MODE_MASTER;
  hspi1.Init.Direction = SPI_DIRECTION_2LINES;
  hspi1.Init.DataSize = SPI_DATASIZE_16BIT;
  hspi1.Init.CLKPolarity = SPI_POLARITY_LOW;
  hspi1.Init.CLKPhase = SPI_PHASE_2EDGE;
  hspi1.Init.NSS = SPI_NSS_SOFT;
  hspi1.Init.BaudRatePrescaler = SPI_BAUDRATEPRESCALER_128;
  hspi1.Init.FirstBit = SPI_FIRSTBIT_MSB;
  hspi1.Init.TIMode = SPI_TIMODE_DISABLE;
  hspi1.Init.CRCCalculation = SPI_CRCCALCULATION_DISABLE;
  hspi1.Init.CRCPolynomial = 7;
  hspi1.Init.CRCLength = SPI_CRC_LENGTH_DATASIZE;
  hspi1.Init.NSSPMode = SPI_NSS_PULSE_DISABLE;
  if (HAL_SPI_Init(&hspi1) != HAL_OK)
  {
    Error_Handler();
  }

}

static void MX_SPI4_Init(void)
{

  /* SPI4 parameter configuration*/
  hspi4.Instance = SPI4;
  hspi4.Init.Mode = SPI_MODE_MASTER;
  hspi4.Init.Direction = SPI_DIRECTION_2LINES;
  hspi4.Init.DataSize = SPI_DATASIZE_14BIT;
  hspi4.Init.CLKPolarity = SPI_POLARITY_HIGH;
  hspi4.Init.CLKPhase = SPI_PHASE_2EDGE;
  hspi4.Init.NSS = SPI_NSS_SOFT;
  hspi4.Init.BaudRatePrescaler = SPI_BAUDRATEPRESCALER_32;
  hspi4.Init.FirstBit = SPI_FIRSTBIT_MSB;
  hspi4.Init.TIMode = SPI_TIMODE_DISABLE;
  hspi4.Init.CRCCalculation = SPI_CRCCALCULATION_DISABLE;
  hspi4.Init.CRCPolynomial = 7;
  hspi4.Init.CRCLength = SPI_CRC_LENGTH_DATASIZE;
  hspi4.Init.NSSPMode = SPI_NSS_PULSE_DISABLE;
  if (HAL_SPI_Init(&hspi4) != HAL_OK)
  {
    Error_Handler();
  }

}

static void MX_TIM2_Init(void)
{

  TIM_Encoder_InitTypeDef sConfig = {0};
  TIM_MasterConfigTypeDef sMasterConfig = {0};

  htim2.Instance = TIM2;
  htim2.Init.Prescaler = 0;
  htim2.Init.CounterMode = TIM_COUNTERMODE_UP;
  htim2.Init.Period = 8191;
  htim2.Init.ClockDivision = TIM_CLOCKDIVISION_DIV1;
  htim2.Init.AutoReloadPreload = TIM_AUTORELOAD_PRELOAD_DISABLE;
  sConfig.EncoderMode = TIM_ENCODERMODE_TI12;
  sConfig.IC1Polarity = TIM_ICPOLARITY_RISING;
  sConfig.IC1Selection = TIM_ICSELECTION_DIRECTTI;
  sConfig.IC1Prescaler = TIM_ICPSC_DIV1;
  sConfig.IC1Filter = 8;
  sConfig.IC2Polarity = TIM_ICPOLARITY_RISING;
  sConfig.IC2Selection = TIM_ICSELECTION_DIRECTTI;
  sConfig.IC2Prescaler = TIM_ICPSC_DIV1;
  sConfig.IC2Filter = 8;
  if (HAL_TIM_Encoder_Init(&htim2, &sConfig) != HAL_OK)
  {
    Error_Handler();
  }
  sMasterConfig.MasterOutputTrigger = TIM_TRGO_RESET;
  sMasterConfig.MasterSlaveMode = TIM_MASTERSLAVEMODE_DISABLE;
  if (HAL_TIMEx_MasterConfigSynchronization(&htim2, &sMasterConfig) != HAL_OK)
  {
    Error_Handler();
  }

}

static void MX_TIM8_Init(void)
{

  TIM_ClockConfigTypeDef sClockSourceConfig = {0};
  TIM_MasterConfigTypeDef sMasterConfig = {0};
  TIMEx_BreakInputConfigTypeDef sBreakInputConfig = {0};
  TIM_OC_InitTypeDef sConfigOC = {0};
  TIM_BreakDeadTimeConfigTypeDef sBreakDeadTimeConfig = {0};

  htim8.Instance = TIM8;
  htim8.Init.Prescaler = 0;
  htim8.Init.CounterMode = TIM_COUNTERMODE_CENTERALIGNED3;
  htim8.Init.Period = 3999;
  htim8.Init.ClockDivision = TIM_CLOCKDIVISION_DIV1;
  htim8.Init.RepetitionCounter = 0;
  htim8.Init.AutoReloadPreload = TIM_AUTORELOAD_PRELOAD_ENABLE;
  if (HAL_TIM_Base_Init(&htim8) != HAL_OK)
  {
    Error_Handler();
  }
  sClockSourceConfig.ClockSource = TIM_CLOCKSOURCE_INTERNAL;
  if (HAL_TIM_ConfigClockSource(&htim8, &sClockSourceConfig) != HAL_OK)
  {
    Error_Handler();
  }
  if (HAL_TIM_PWM_Init(&htim8) != HAL_OK)
  {
    Error_Handler();
  }
  sMasterConfig.MasterOutputTrigger = TIM_TRGO_UPDATE;
  sMasterConfig.MasterOutputTrigger2 = TIM_TRGO2_RESET;
  sMasterConfig.MasterSlaveMode = TIM_MASTERSLAVEMODE_ENABLE;
  if (HAL_TIMEx_MasterConfigSynchronization(&htim8, &sMasterConfig) != HAL_OK)
  {
    Error_Handler();
  }
  sBreakInputConfig.Source = TIM_BREAKINPUTSOURCE_BKIN;
  sBreakInputConfig.Enable = TIM_BREAKINPUTSOURCE_ENABLE;
  sBreakInputConfig.Polarity = TIM_BREAKINPUTSOURCE_POLARITY_HIGH;
  if (HAL_TIMEx_ConfigBreakInput(&htim8, TIM_BREAKINPUT_BRK, &sBreakInputConfig) != HAL_OK)
  {
    Error_Handler();
  }
  if (HAL_TIMEx_ConfigBreakInput(&htim8, TIM_BREAKINPUT_BRK2, &sBreakInputConfig) != HAL_OK)
  {
    Error_Handler();
  }
  sConfigOC.OCMode = TIM_OCMODE_PWM1;
  sConfigOC.Pulse = 1999;
  sConfigOC.OCPolarity = TIM_OCPOLARITY_HIGH;
  sConfigOC.OCNPolarity = TIM_OCNPOLARITY_HIGH;
  sConfigOC.OCFastMode = TIM_OCFAST_DISABLE;
  sConfigOC.OCIdleState = TIM_OCIDLESTATE_RESET;
  sConfigOC.OCNIdleState = TIM_OCNIDLESTATE_RESET;
  if (HAL_TIM_PWM_ConfigChannel(&htim8, &sConfigOC, TIM_CHANNEL_1) != HAL_OK)
  {
    Error_Handler();
  }
  if (HAL_TIM_PWM_ConfigChannel(&htim8, &sConfigOC, TIM_CHANNEL_2) != HAL_OK)
  {
    Error_Handler();
  }
  if (HAL_TIM_PWM_ConfigChannel(&htim8, &sConfigOC, TIM_CHANNEL_3) != HAL_OK)
  {
    Error_Handler();
  }
  HAL_TIMEx_EnableDeadTimePreload(&htim8);
  sBreakDeadTimeConfig.OffStateRunMode = TIM_OSSR_ENABLE;
  sBreakDeadTimeConfig.OffStateIDLEMode = TIM_OSSI_ENABLE;
  sBreakDeadTimeConfig.LockLevel = TIM_LOCKLEVEL_OFF;
  sBreakDeadTimeConfig.DeadTime = 64;
  sBreakDeadTimeConfig.BreakState = TIM_BREAK_ENABLE;
  sBreakDeadTimeConfig.BreakPolarity = TIM_BREAKPOLARITY_LOW;
  sBreakDeadTimeConfig.BreakFilter = 0;
  sBreakDeadTimeConfig.BreakAFMode = TIM_BREAK_AFMODE_INPUT;
  sBreakDeadTimeConfig.Break2State = TIM_BREAK2_ENABLE;
  sBreakDeadTimeConfig.Break2Polarity = TIM_BREAK2POLARITY_LOW;
  sBreakDeadTimeConfig.Break2Filter = 0;
  sBreakDeadTimeConfig.Break2AFMode = TIM_BREAK_AFMODE_INPUT;
  sBreakDeadTimeConfig.AutomaticOutput = TIM_AUTOMATICOUTPUT_DISABLE;
  if (HAL_TIMEx_ConfigBreakDeadTime(&htim8, &sBreakDeadTimeConfig) != HAL_OK)
  {
    Error_Handler();
  }
  /* USER CODE BEGIN TIM8_Init 2 */

  // 1. Update the configuration structure
  sBreakDeadTimeConfig.BreakState = TIM_BREAK_DISABLE;
  sBreakDeadTimeConfig.Break2State = TIM_BREAK2_DISABLE;

  // 2. Apply the configuration
  HAL_TIMEx_ConfigBreakDeadTime(&htim8, &sBreakDeadTimeConfig);

  /* USER CODE END TIM8_Init 2 */
  HAL_TIM_MspPostInit(&htim8);

}

static void MX_USART1_UART_Init(void)
{

  /* USER CODE BEGIN USART1_Init 0 */
	__HAL_LINKDMA(&huart1, hdmatx, hdma_usart1_tx);

  /* USER CODE END USART1_Init 0 */

  huart1.Instance = USART1;
  huart1.Init.BaudRate = 115200;
  huart1.Init.WordLength = UART_WORDLENGTH_8B;
  huart1.Init.StopBits = UART_STOPBITS_1;
  huart1.Init.Parity = UART_PARITY_NONE;
  huart1.Init.Mode = UART_MODE_TX_RX;
  huart1.Init.HwFlowCtl = UART_HWCONTROL_NONE;
  huart1.Init.OverSampling = UART_OVERSAMPLING_16;
  huart1.Init.OneBitSampling = UART_ONE_BIT_SAMPLE_DISABLE;
  huart1.Init.ClockPrescaler = UART_PRESCALER_DIV1;
  huart1.AdvancedInit.AdvFeatureInit = UART_ADVFEATURE_NO_INIT;
  if (HAL_UART_Init(&huart1) != HAL_OK)
  {
    Error_Handler();
  }
  if (HAL_UARTEx_SetTxFifoThreshold(&huart1, UART_TXFIFO_THRESHOLD_1_8) != HAL_OK)
  {
    Error_Handler();
  }
  if (HAL_UARTEx_SetRxFifoThreshold(&huart1, UART_RXFIFO_THRESHOLD_1_8) != HAL_OK)
  {
    Error_Handler();
  }
  if (HAL_UARTEx_DisableFifoMode(&huart1) != HAL_OK)
  {
    Error_Handler();
  }

}

static void MX_DMA_Init(void)
{

  /* DMA controller clock enable */
  __HAL_RCC_DMAMUX1_CLK_ENABLE();
  __HAL_RCC_DMA1_CLK_ENABLE();

  /* DMA interrupt init */
  /* DMA1_Channel1_IRQn interrupt configuration */
  HAL_NVIC_SetPriority(DMA1_Channel1_IRQn, 5, 0);
  HAL_NVIC_EnableIRQ(DMA1_Channel1_IRQn);
  /* DMA1_Channel2_IRQn interrupt configuration */
  HAL_NVIC_SetPriority(DMA1_Channel2_IRQn, 5, 0);
  HAL_NVIC_EnableIRQ(DMA1_Channel2_IRQn);
  /* DMA1_Channel3_IRQn interrupt configuration */
  HAL_NVIC_SetPriority(DMA1_Channel3_IRQn, 5, 0);
  HAL_NVIC_EnableIRQ(DMA1_Channel3_IRQn);
  /* DMA1_Channel4_IRQn interrupt configuration */
  HAL_NVIC_SetPriority(DMA1_Channel4_IRQn, 5, 0);
  HAL_NVIC_EnableIRQ(DMA1_Channel4_IRQn);
  /* DMA1_Channel5_IRQn interrupt configuration */
  HAL_NVIC_SetPriority(DMA1_Channel5_IRQn, 5, 0);
  HAL_NVIC_EnableIRQ(DMA1_Channel5_IRQn);
  /* DMA1_Channel6_IRQn interrupt configuration */
  HAL_NVIC_SetPriority(DMA1_Channel6_IRQn, 5, 0);
  HAL_NVIC_EnableIRQ(DMA1_Channel6_IRQn);
  /* DMA1_Channel7_IRQn interrupt configuration */
  HAL_NVIC_SetPriority(DMA1_Channel7_IRQn, 5, 0);
  HAL_NVIC_EnableIRQ(DMA1_Channel7_IRQn);

}

static void MX_GPIO_Init(void)
{
  GPIO_InitTypeDef GPIO_InitStruct = {0};

  /* GPIO Ports Clock Enable */
  __HAL_RCC_GPIOE_CLK_ENABLE();
  __HAL_RCC_GPIOF_CLK_ENABLE();
  __HAL_RCC_GPIOA_CLK_ENABLE();
  __HAL_RCC_GPIOC_CLK_ENABLE();
  __HAL_RCC_GPIOB_CLK_ENABLE();
  __HAL_RCC_GPIOD_CLK_ENABLE();
  __HAL_RCC_GPIOG_CLK_ENABLE();

  /*Configure GPIO pin Output Level */
  HAL_GPIO_WritePin(MCU_I_AC_RST_GPIO_Port, MCU_I_AC_RST_Pin, GPIO_PIN_RESET);

  /*Configure GPIO pin Output Level */
  HAL_GPIO_WritePin(DOUT_2_GPIO_Port, DOUT_2_Pin, GPIO_PIN_RESET);

  /*Configure GPIO pin Output Level */
  HAL_GPIO_WritePin(GPIOD, DOUT_1_Pin|DOUT_2_EN_Pin|DOUT_1_EN_Pin|Debug_LED_Pin, GPIO_PIN_RESET);

  /*Configure GPIO pin Output Level */
  HAL_GPIO_WritePin(SPI1_CS_Driver_GPIO_Port, SPI1_CS_Driver_Pin, GPIO_PIN_SET);

  /*Configure GPIO pin : Encoder_Z_Pin */
  GPIO_InitStruct.Pin = Encoder_Z_Pin;
  GPIO_InitStruct.Mode = GPIO_MODE_IT_RISING;
  GPIO_InitStruct.Pull = GPIO_NOPULL;
  HAL_GPIO_Init(Encoder_Z_GPIO_Port, &GPIO_InitStruct);

  /*Configure GPIO pins : I_U_FB_Pin I_V_FB_Pin */
  GPIO_InitStruct.Pin = I_U_FB_Pin|I_V_FB_Pin;
  GPIO_InitStruct.Mode = GPIO_MODE_IT_RISING;
  GPIO_InitStruct.Pull = GPIO_NOPULL;
  HAL_GPIO_Init(GPIOF, &GPIO_InitStruct);

  /*Configure GPIO pin : MCU_I_AC_RST_Pin */
  GPIO_InitStruct.Pin = MCU_I_AC_RST_Pin;
  GPIO_InitStruct.Mode = GPIO_MODE_OUTPUT_PP;
  GPIO_InitStruct.Pull = GPIO_NOPULL;
  GPIO_InitStruct.Speed = GPIO_SPEED_FREQ_LOW;
  HAL_GPIO_Init(MCU_I_AC_RST_GPIO_Port, &GPIO_InitStruct);

  /*Configure GPIO pins : DIN_2_Pin DIN_1_Pin */
  GPIO_InitStruct.Pin = DIN_2_Pin|DIN_1_Pin;
  GPIO_InitStruct.Mode = GPIO_MODE_IT_RISING;
  GPIO_InitStruct.Pull = GPIO_NOPULL;
  HAL_GPIO_Init(GPIOB, &GPIO_InitStruct);

  /*Configure GPIO pin : DOUT_2_Pin */
  GPIO_InitStruct.Pin = DOUT_2_Pin;
  GPIO_InitStruct.Mode = GPIO_MODE_OUTPUT_PP;
  GPIO_InitStruct.Pull = GPIO_NOPULL;
  GPIO_InitStruct.Speed = GPIO_SPEED_FREQ_LOW;
  HAL_GPIO_Init(DOUT_2_GPIO_Port, &GPIO_InitStruct);

  /*Configure GPIO pins : DOUT_1_Pin DOUT_2_EN_Pin DOUT_1_EN_Pin Debug_LED_Pin */
  GPIO_InitStruct.Pin = DOUT_1_Pin|DOUT_2_EN_Pin|DOUT_1_EN_Pin|Debug_LED_Pin;
  GPIO_InitStruct.Mode = GPIO_MODE_OUTPUT_PP;
  GPIO_InitStruct.Pull = GPIO_NOPULL;
  GPIO_InitStruct.Speed = GPIO_SPEED_FREQ_LOW;
  HAL_GPIO_Init(GPIOD, &GPIO_InitStruct);

  /*Configure GPIO pins : DOUT_2_FB_Pin DOUT_1_FB_Pin */
  GPIO_InitStruct.Pin = DOUT_2_FB_Pin|DOUT_1_FB_Pin;
  GPIO_InitStruct.Mode = GPIO_MODE_IT_RISING;
  GPIO_InitStruct.Pull = GPIO_NOPULL;
  HAL_GPIO_Init(GPIOD, &GPIO_InitStruct);

  /*Configure GPIO pin : SPI1_CS_Driver_Pin */
  GPIO_InitStruct.Pin = SPI1_CS_Driver_Pin;
  GPIO_InitStruct.Mode = GPIO_MODE_OUTPUT_PP;
  GPIO_InitStruct.Pull = GPIO_NOPULL;
  GPIO_InitStruct.Speed = GPIO_SPEED_FREQ_LOW;
  HAL_GPIO_Init(SPI1_CS_Driver_GPIO_Port, &GPIO_InitStruct);

  /* EXTI interrupt init*/
  HAL_NVIC_SetPriority(EXTI2_IRQn, 5, 0);
  HAL_NVIC_EnableIRQ(EXTI2_IRQn);

}

/* USER CODE BEGIN 4 */

void HAL_TIMEx_BreakCallback(TIM_HandleTypeDef *htim)
{
    if(htim->Instance == TIM8 && !nFLT1_active)
    {
        nFLT1_active = true;
        osSemaphoreRelease(faultSemHandle);
        __HAL_TIM_DISABLE_IT(htim, TIM_IT_BREAK);
    }
}

void HAL_TIMEx_Break2Callback(TIM_HandleTypeDef *htim)
{
    if(htim->Instance == TIM8 && !nFLT2_active)
    {
        nFLT2_active = true;
        osSemaphoreRelease(faultSemHandle);
        __HAL_TIM_DISABLE_IT(htim, TIM_IT_BREAK);
    }
}

void HAL_ADC_ConvCpltCallback(ADC_HandleTypeDef *hadc)
{
    // this is your own function
	;
}

void HAL_GPIO_EXTI_Callback(uint16_t GPIO_Pin)
{
    if (GPIO_Pin == Encoder_Z_Pin)
    {
        __HAL_TIM_SET_COUNTER(&htim2, 0);
    }
}

/* USER CODE END 4 */

void StartDefaultTask(void *argument)
{
  for(;;)
  {
	  osDelay(1);
  }
}

void FaultHandlerTask(void *argument)
{
  /* USER CODE BEGIN FaultHandlerTask */
  /* Infinite loop */
    for(;;)
    {
        // Wait for ANY fault event
        osSemaphoreAcquire(faultSemHandle, osWaitForever);

        // --- Run diagnostics for ANY pending fault ---
        printInverterStatus();

        // Continue looping until ALL faults have cleared
        bool allCleared = false;

        while (!allCleared)
        {
            // Re-check fault input pins
            if (nFLT1_active &&
                HAL_GPIO_ReadPin(PWM_BKIN_GPIO_Port, PWM_BKIN_Pin) == GPIO_PIN_SET)
            {
                nFLT1_active = false;
            }

            if (nFLT2_active &&
                HAL_GPIO_ReadPin(PWM_BKIN2_GPIO_Port, PWM_BKIN2_Pin) == GPIO_PIN_SET)
            {
                nFLT2_active = false;
            }

            // Check if all are cleared
            allCleared = (!nFLT1_active && !nFLT2_active);

            // If not cleared, wait but do NOT block the scheduler
            if (!allCleared)
                osDelay(1);

            // If another ISR happens here:
            // - ISR will set nFLT1_active or nFLT2_active
            // - ISR will release the semaphore again
            // This loop will detect it immediately on next iteration
        }

        // All faults cleared → re-arm BKIN interrupts
        __HAL_TIM_ENABLE_IT(&htim8, TIM_IT_BREAK);
    }
  /* USER CODE END FaultHandlerTask */
}

void AnalogReadTask(void *argument)
{
  /* USER CODE BEGIN AnalogReadTask */
	/* Infinite loop */
	for(;;)
	{
		uint32_t adc_buf[2]; /* [0] - Rank 1 - AIN1 - CH14 */
							 /* [1] - Rank 2 - AIN2 - CH11 */

		HAL_ADC_Start_DMA(&hadc1, adc_buf, 2);

		// Wait for conversion complete
		while(HAL_DMA_GetState(&hdma_adc1) != HAL_DMA_STATE_READY);

		// Transfer data from DMA buffer to struct and scale
	    for (int i = 0; i < AIN_NUM; i++)
	    {
	        AIN[i].raw = adc_buf[i];

	        uint32_t min = AIN[i].min;
	        uint32_t max = AIN[i].max;
	        uint32_t range = (max > min) ? (max - min) : 1;

	        uint32_t clipped = (AIN[i].raw < min) ? min :
	                           (AIN[i].raw > max) ? max :
	                           AIN[i].raw;

	        AIN[i].percentage = (clipped - min) / range;
	    }

		osDelay(100);
	}
  /* USER CODE END AnalogReadTask */
}

void HAL_TIM_PeriodElapsedCallback(TIM_HandleTypeDef *htim)
{
  /* USER CODE BEGIN Callback 0 */
  if(htim->Instance == TIM8)
  {
	  RampGen_step(&rg);

	  FOC_run(&motor, &rg);
  }
  /* USER CODE END Callback 0 */
  if (htim->Instance == TIM6)
  {
    HAL_IncTick();
  }
}

void Error_Handler(void)
{
  __disable_irq();
  while (1)
  {
  }
}
